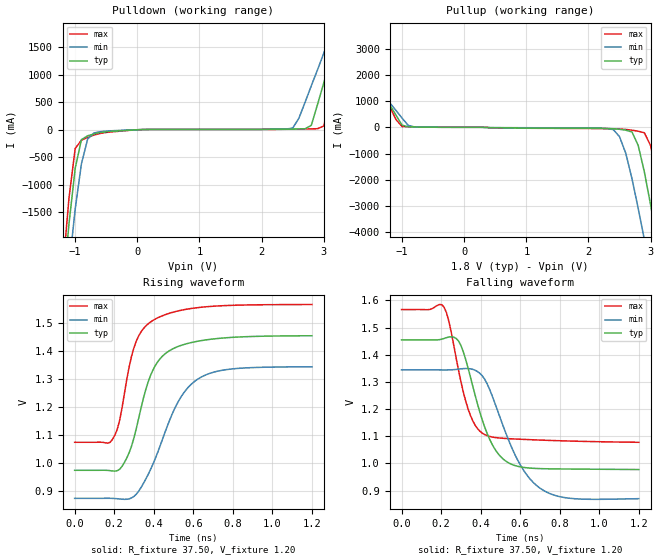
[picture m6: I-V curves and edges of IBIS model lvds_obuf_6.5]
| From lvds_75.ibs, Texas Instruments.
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|   Model lvds_obuf_6.5
[Model]   lvds_obuf_6.5
Model_type   Output
Polarity   Non-Inverting
Vmeas =   1.2000V
C_comp   4.00pF   4.00pF   4.00pF
[Temperature Range]   25.00   0.12k   -40.00
[Voltage Range]   1.80V   1.65V   1.95V
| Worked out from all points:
|   slope of the pulldown table from 0 to 0.27 V, typ, clamps not added: 45.9 ohm
|   slope of the pullup table from 0 to 0.27 V, typ, clamps not added: 20 kohm
|   rising waveform, R_fixture 37.50, V_fixture 1.20: 20-80 % time 126ps typ, 173ps min, 102ps max; typ from 0.974 V to 1.45 V
|   falling waveform, R_fixture 37.50, V_fixture 1.20: 20-80 % time 123ps typ, 169ps min, 93.9ps max; typ from 1.46 V to 0.977 V
[Pulldown]
| voltage   I(typ)   I(min)   I(max)
-1.8V     -11.24A    -11.51A    -11.61A
-1.2V     -2.95A     -3.66A     -2.55A
-1.1V     -1.71A     -2.5A      -1.24A
-1V       -700mA     -1.44A     -340mA
-900mV    -180mA     -620mA     -190mA
-700mV    -76.97mA   -60.03mA   -98.37mA
2.5V      12.91mA    28.79mA    10.39mA
2.8V      80.68mA    800mA      16.22mA
3V        850mA      1.39A      67.33mA
3.2V      1.64A      2A         1.04A
3.4V      2.44A      2.87A      2.05A
3.6V      3.26A      7.07A      3.07A
[Pullup]
| voltage   I(typ)   I(min)   I(max)
-1.8V     3.24A      3.32A      3.83A
-1.6V     2.43A      2.16A      2.81A
-1V       81.97mA    350mA      27.8mA
2.4V      -55.69mA   -88.82mA   -57.11mA
2.5V      -75.93mA   -360mA     -64.23mA
2.7V      -180mA     -1.96A     -110mA
2.9V      -1.71A     -4.29A     -210mA
3V        -2.96A     -5.52A     -700mA
3.1V      -4.29A     -6.78A     -1.87A
3.2V      -5.66A     -8.06A     -3.28A
3.3V      -7.05A     -9.36A     -4.76A
3.6V      -11.3A     -15.14A    -9.35A
[Ramp]
| variable   typ   min   max
dV/dt_r   0.57/0.15n   0.39/0.20n   0.70/0.11n
dV/dt_f   0.18/99.14p   0.17/0.14n   0.20/80.59p
R_load = 37.50
[Rising Waveform]
R_fixture = 37.50
V_fixture = 1.20
V_fixture_min = 1.10
V_fixture_max = 1.30
| time   V(typ)   V(min)   V(max)
0s        973.9mV    874mV      1.074V
180ps     972.6mV    874.2mV    1.074V
216ps     972.6mV    872.7mV    1.121V
240ps     988.1mV    871mV      1.197V
300ps     1.089V     881.1mV    1.411V
396ps     1.331V     995.7mV    1.508V
516ps     1.413V     1.208V     1.54V
624ps     1.434V     1.299V     1.553V
792ps     1.447V     1.334V     1.561V
1.2ns     1.453V     1.342V     1.564V
[Falling Waveform]
R_fixture = 37.50
V_fixture = 1.20
V_fixture_min = 1.10
V_fixture_max = 1.30
| time   V(typ)   V(min)   V(max)
0s        1.455V     1.344V     1.566V
216ps     1.46V      1.344V     1.574V
300ps     1.435V     1.348V     1.302V
360ps     1.286V     1.346V     1.157V
420ps     1.135V     1.311V     1.106V
516ps     1.015V     1.134V     1.092V
600ps     987.4mV    995.6mV    1.089V
696ps     981mV      911.3mV    1.086V
852ps     979.3mV    871.7mV    1.082V
1.2ns     977.4mV    870.2mV    1.078V
